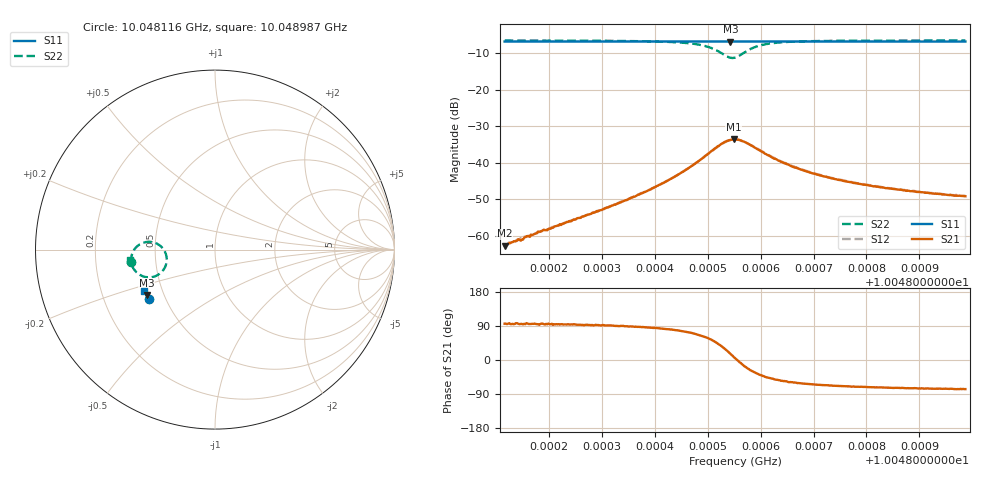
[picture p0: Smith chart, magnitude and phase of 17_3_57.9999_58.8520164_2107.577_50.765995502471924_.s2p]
#  HZ  S  RI  R  50.00
! Rohde & Schwarz Vector Network Analyzer
! Rohde-Schwarz,ZNB20-2Port,1311601062101988,3.16
! Created: UTC 3/21/2024, 12:51:02 AM
! freq[Hz]  re:S11  im:S11  re:S21  im:S21  re:S12  im:S12  re:S22  im:S22
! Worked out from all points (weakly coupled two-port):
!   401 points, 10.048116 GHz to 10.048987 GHz, reference 50 ohm
!   highest |S21| = -33.57 dB at 10.048549 GHz (marker M1); lowest = -62.7 dB at 10.048116 GHz (marker M2)
!   lowest |S11| = -6.8 dB at 10.048543 GHz (marker M3), VSWR 2.68, Z = 20.1 - j12.9 ohm
!   |S11| at or under -10 dB: nowhere
!   |S22| runs from -11.3 to -6.5 dB; largest |S21 - S12| = 0.0018
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1.00481159e10  -0.366 -0.2779  -7.54e-05 0.00073  -0.000116 0.000713  -0.4677 -0.0715
1.00481508e10  -0.3674 -0.276  -6.14e-05 0.000886  -0.000142 0.000949  -0.468 -0.0675
1.00481573e10  -0.3676 -0.2755  -0.000127 0.000982  -0.000164 0.000951  -0.4679 -0.0666
1.00481834e10  -0.3687 -0.2741  -9.92e-05 0.00113  -0.000152 0.00114  -0.4679 -0.0632
1.00481987e10  -0.3693 -0.2732  -0.000134 0.00123  -0.000184 0.00122  -0.4679 -0.0613
1.00482618e10  -0.3715 -0.2696  -7.86e-05 0.00182  -0.000185 0.00181  -0.4676 -0.0516
1.00483468e10  -0.3748 -0.2648  4.6e-05 0.00309  -0.00016 0.0031  -0.4648 -0.0338
1.00484077e10  -0.377 -0.2611  0.000564 0.00494  0.000246 0.00497  -0.4574 -0.0132
1.00484513e10  -0.3786 -0.2586  0.00179 0.00721  0.00134 0.00733  -0.4425 0.00967
1.00484905e10  -0.3796 -0.2558  0.00531 0.0104  0.00471 0.0106  -0.4039 0.0368
1.0048521e10  -0.3799 -0.2539  0.0129 0.0113  0.012 0.0119  -0.3316 0.0367
1.00485428e10  -0.3798 -0.2531  0.0198 0.0057  0.0191 0.00727  -0.2743 -0.0233
1.00485493e10  -0.3799 -0.253  0.0208 0.00273  0.0204 0.00428  -0.2691 -0.0517
1.00485515e10  -0.38 -0.2531  0.0209 0.00184  0.0207 0.00339  -0.2691 -0.0614
1.00485624e10  -0.3803 -0.253  0.0201 -0.00277  0.0201 -0.00146  -0.2827 -0.1056
1.00485754e10  -0.3811 -0.2527  0.0171 -0.00699  0.0175 -0.00571  -0.3162 -0.1398
1.00486059e10  -0.3827 -0.2514  0.0101 -0.00931  0.0109 -0.00859  -0.3875 -0.1524
1.00486604e10  -0.3852 -0.2482  0.00462 -0.00756  0.00501 -0.00744  -0.439 -0.1248
1.00486974e10  -0.3867 -0.2461  0.00315 -0.00648  0.00358 -0.00637  -0.4515 -0.1095
1.00487627e10  -0.389 -0.2422  0.00196 -0.00519  0.0023 -0.00513  -0.4616 -0.0906
1.00488433e10  -0.3918 -0.2376  0.00129 -0.00428  0.00156 -0.00423  -0.467 -0.0754
1.0048987e10  -0.3965 -0.2291  0.000797 -0.0034  0.00102 -0.00337  -0.471 -0.0565
